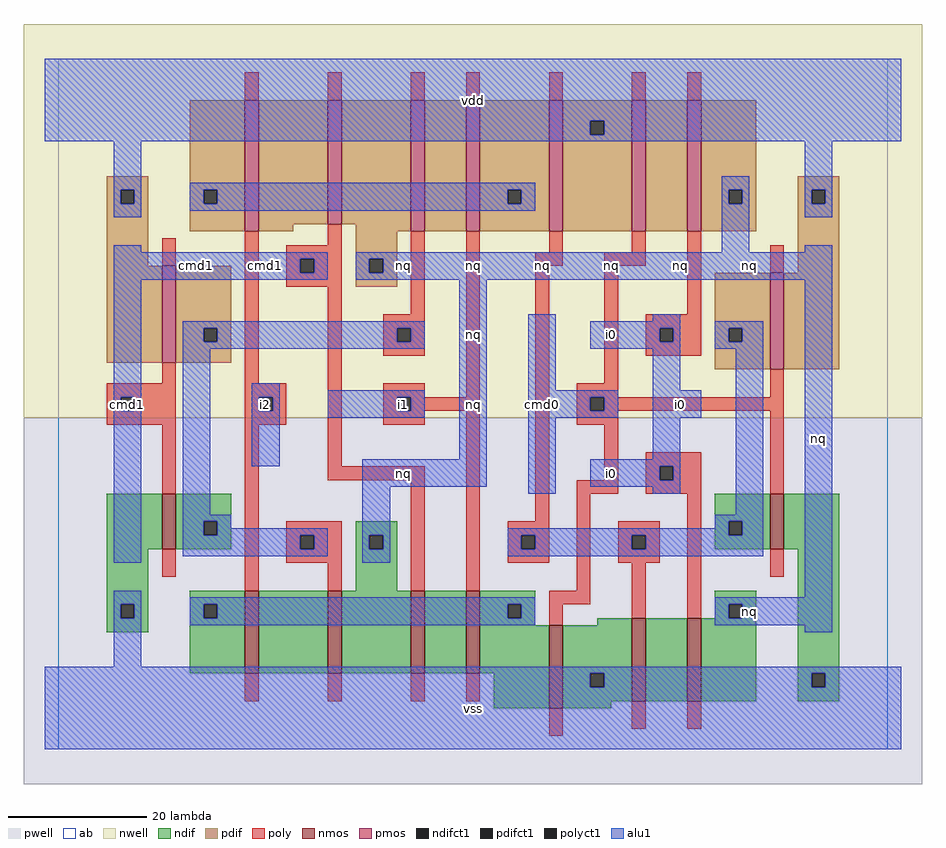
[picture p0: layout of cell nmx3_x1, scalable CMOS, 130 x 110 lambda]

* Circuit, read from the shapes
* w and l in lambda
.subckt nmx3_x1 cmd0 cmd1 i0 i1 i2 nq vdd vss
M1 n1 cmd1 vss VSUBS nfet w=8 l=2
M2 n2 i2 n3 VSUBS nfet w=12 l=2
M3 nq n1 n2 VSUBS nfet w=12 l=2
M4 n4 cmd1 nq VSUBS nfet w=12 l=2
M5 n3 i1 n4 VSUBS nfet w=12 l=2
M6 vss cmd0 n3 VSUBS nfet w=12 l=2
M7 n5 n6 vss VSUBS nfet w=12 l=2
M8 nq i0 n5 VSUBS nfet w=12 l=2
M9 vss cmd0 n6 VSUBS nfet w=8 l=2
M10 n1 cmd1 vdd n7 pfet w=14 l=2
M11 n8 i2 n9 n7 pfet w=19 l=2
M12 nq cmd1 n8 n7 pfet w=18 l=2
M13 n10 n1 nq n7 pfet w=19 l=2
M14 n9 i1 n10 n7 pfet w=19 l=2
M15 vdd n6 n9 n7 pfet w=19 l=2
M16 n11 cmd0 vdd n7 pfet w=19 l=2
M17 nq i0 n11 n7 pfet w=19 l=2
M18 vdd cmd0 n6 n7 pfet w=14 l=2
.ends

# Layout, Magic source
magic
tech scmos
<< ab >>
rect 0 0 120 100
<< nwell >>
rect -5 48 125 105
<< pwell >>
rect -5 -5 125 48
<< poly >>
rect 27 94 29 98
rect 39 94 41 98
rect 51 94 53 98
rect 59 94 61 98
rect 71 94 73 98
rect 83 94 85 98
rect 91 94 93 98
rect 15 70 17 74
rect 15 53 17 56
rect 7 51 17 53
rect 7 49 9 51
rect 11 49 17 51
rect 7 47 17 49
rect 15 37 17 47
rect 27 53 29 75
rect 39 73 41 76
rect 33 71 41 73
rect 33 69 35 71
rect 37 69 41 71
rect 33 67 41 69
rect 27 51 33 53
rect 27 49 29 51
rect 31 49 33 51
rect 27 47 33 49
rect 15 25 17 29
rect 27 23 29 47
rect 39 41 41 67
rect 51 63 53 75
rect 47 61 53 63
rect 47 59 49 61
rect 51 59 53 61
rect 47 57 53 59
rect 47 51 53 53
rect 59 51 61 75
rect 71 72 73 75
rect 83 72 85 75
rect 47 49 49 51
rect 51 49 61 51
rect 47 47 53 49
rect 39 39 53 41
rect 33 31 41 33
rect 33 29 35 31
rect 37 29 41 31
rect 33 27 41 29
rect 39 23 41 27
rect 51 23 53 39
rect 59 23 61 49
rect 69 70 73 72
rect 79 70 85 72
rect 69 33 71 70
rect 79 53 81 70
rect 91 63 93 75
rect 103 69 105 73
rect 85 61 93 63
rect 85 59 87 61
rect 89 59 93 61
rect 85 57 93 59
rect 75 51 81 53
rect 103 51 105 55
rect 75 49 77 51
rect 79 49 105 51
rect 75 47 81 49
rect 79 39 81 47
rect 65 31 71 33
rect 65 29 67 31
rect 69 29 71 31
rect 65 27 71 29
rect 75 37 81 39
rect 85 41 93 43
rect 85 39 87 41
rect 89 39 93 41
rect 85 37 93 39
rect 103 37 105 49
rect 75 23 77 37
rect 81 31 87 33
rect 81 29 83 31
rect 85 29 87 31
rect 81 27 87 29
rect 71 21 77 23
rect 71 18 73 21
rect 83 19 85 27
rect 91 19 93 37
rect 103 25 105 29
rect 27 7 29 11
rect 39 7 41 11
rect 51 7 53 11
rect 59 7 61 11
rect 71 2 73 6
rect 83 3 85 7
rect 91 3 93 7
<< ndif >>
rect 7 29 15 37
rect 17 33 25 37
rect 17 31 21 33
rect 23 31 25 33
rect 17 29 25 31
rect 7 21 13 29
rect 43 31 49 33
rect 43 29 45 31
rect 47 29 49 31
rect 43 23 49 29
rect 7 19 9 21
rect 11 19 13 21
rect 7 17 13 19
rect 19 21 27 23
rect 19 19 21 21
rect 23 19 27 21
rect 19 11 27 19
rect 29 11 39 23
rect 41 11 51 23
rect 53 11 59 23
rect 61 21 69 23
rect 61 19 65 21
rect 67 19 69 21
rect 61 18 69 19
rect 95 33 103 37
rect 95 31 97 33
rect 99 31 103 33
rect 95 29 103 31
rect 105 29 113 37
rect 95 21 101 23
rect 95 19 97 21
rect 99 19 101 21
rect 78 18 83 19
rect 61 11 71 18
rect 63 6 71 11
rect 73 11 83 18
rect 73 9 77 11
rect 79 9 83 11
rect 73 7 83 9
rect 85 7 91 19
rect 93 7 101 19
rect 107 11 113 29
rect 107 9 109 11
rect 111 9 113 11
rect 107 7 113 9
rect 73 6 80 7
<< pdif >>
rect 7 81 13 83
rect 7 79 9 81
rect 11 79 13 81
rect 7 70 13 79
rect 19 81 27 94
rect 19 79 21 81
rect 23 79 27 81
rect 19 75 27 79
rect 29 76 39 94
rect 41 76 51 94
rect 29 75 34 76
rect 7 56 15 70
rect 17 61 25 70
rect 17 59 21 61
rect 23 59 25 61
rect 17 56 25 59
rect 43 75 51 76
rect 53 75 59 94
rect 61 81 71 94
rect 61 79 65 81
rect 67 79 71 81
rect 61 75 71 79
rect 73 91 83 94
rect 73 89 77 91
rect 79 89 83 91
rect 73 75 83 89
rect 85 75 91 94
rect 93 81 101 94
rect 93 79 97 81
rect 99 79 101 81
rect 93 75 101 79
rect 107 81 113 83
rect 107 79 109 81
rect 111 79 113 81
rect 43 71 49 75
rect 43 69 45 71
rect 47 69 49 71
rect 43 67 49 69
rect 107 69 113 79
rect 95 61 103 69
rect 95 59 97 61
rect 99 59 103 61
rect 95 55 103 59
rect 105 55 113 69
<< alu1 >>
rect -2 91 122 100
rect -2 89 77 91
rect 79 89 122 91
rect -2 88 122 89
rect 8 81 12 88
rect 8 79 9 81
rect 11 79 12 81
rect 8 77 12 79
rect 19 81 69 82
rect 19 79 21 81
rect 23 79 65 81
rect 67 79 69 81
rect 19 78 69 79
rect 96 81 100 83
rect 96 79 97 81
rect 99 79 100 81
rect 8 72 12 73
rect 96 72 100 79
rect 108 81 112 88
rect 108 79 109 81
rect 111 79 112 81
rect 108 77 112 79
rect 108 72 112 73
rect 8 71 39 72
rect 8 69 35 71
rect 37 69 39 71
rect 8 68 39 69
rect 43 71 112 72
rect 43 69 45 71
rect 47 69 112 71
rect 43 68 112 69
rect 8 51 12 68
rect 8 49 9 51
rect 11 49 12 51
rect 8 27 12 49
rect 18 61 53 62
rect 18 59 21 61
rect 23 59 49 61
rect 51 59 53 61
rect 18 58 53 59
rect 18 34 22 58
rect 28 51 32 53
rect 28 49 29 51
rect 31 49 32 51
rect 28 41 32 49
rect 39 51 53 52
rect 39 49 49 51
rect 51 49 53 51
rect 39 48 53 49
rect 58 42 62 68
rect 44 38 62 42
rect 68 52 72 63
rect 86 62 90 63
rect 77 61 90 62
rect 77 59 87 61
rect 89 59 90 61
rect 77 58 90 59
rect 95 61 102 62
rect 95 59 97 61
rect 99 59 102 61
rect 95 58 102 59
rect 86 52 90 58
rect 68 51 81 52
rect 68 49 77 51
rect 79 49 81 51
rect 68 48 81 49
rect 86 48 93 52
rect 18 33 25 34
rect 18 31 21 33
rect 23 32 25 33
rect 23 31 39 32
rect 18 29 35 31
rect 37 29 39 31
rect 18 28 39 29
rect 44 31 48 38
rect 68 37 72 48
rect 86 42 90 48
rect 77 41 90 42
rect 77 39 87 41
rect 89 39 90 41
rect 77 38 90 39
rect 86 37 90 38
rect 98 34 102 58
rect 95 33 102 34
rect 95 32 97 33
rect 44 29 45 31
rect 47 29 48 31
rect 44 27 48 29
rect 65 31 97 32
rect 99 31 102 33
rect 65 29 67 31
rect 69 29 83 31
rect 85 29 102 31
rect 65 28 102 29
rect 8 21 12 23
rect 108 22 112 68
rect 8 19 9 21
rect 11 19 12 21
rect 8 12 12 19
rect 19 21 69 22
rect 19 19 21 21
rect 23 19 65 21
rect 67 19 69 21
rect 19 18 69 19
rect 95 21 112 22
rect 95 19 97 21
rect 99 19 112 21
rect 95 18 112 19
rect 108 17 112 18
rect -2 11 122 12
rect -2 9 77 11
rect 79 9 109 11
rect 111 9 122 11
rect -2 0 122 9
<< nmos >>
rect 15 29 17 37
rect 27 11 29 23
rect 39 11 41 23
rect 51 11 53 23
rect 59 11 61 23
rect 103 29 105 37
rect 71 6 73 18
rect 83 7 85 19
rect 91 7 93 19
<< pmos >>
rect 27 75 29 94
rect 39 76 41 94
rect 15 56 17 70
rect 51 75 53 94
rect 59 75 61 94
rect 71 75 73 94
rect 83 75 85 94
rect 91 75 93 94
rect 103 55 105 69
<< polyct1 >>
rect 9 49 11 51
rect 35 69 37 71
rect 29 49 31 51
rect 49 59 51 61
rect 49 49 51 51
rect 35 29 37 31
rect 87 59 89 61
rect 77 49 79 51
rect 67 29 69 31
rect 87 39 89 41
rect 83 29 85 31
<< ndifct1 >>
rect 21 31 23 33
rect 45 29 47 31
rect 9 19 11 21
rect 21 19 23 21
rect 65 19 67 21
rect 97 31 99 33
rect 97 19 99 21
rect 77 9 79 11
rect 109 9 111 11
<< pdifct1 >>
rect 9 79 11 81
rect 21 79 23 81
rect 21 59 23 61
rect 65 79 67 81
rect 77 89 79 91
rect 97 79 99 81
rect 109 79 111 81
rect 45 69 47 71
rect 97 59 99 61
<< labels >>
rlabel polyct1 10 50 10 50 6 cmd1
rlabel polyct1 30 50 30 50 6 i2
rlabel alu1 20 70 20 70 6 cmd1
rlabel alu1 30 70 30 70 6 cmd1
rlabel alu1 60 6 60 6 6 vss
rlabel alu1 50 40 50 40 6 nq
rlabel polyct1 50 50 50 50 6 i1
rlabel alu1 60 50 60 50 6 nq
rlabel alu1 60 60 60 60 6 nq
rlabel alu1 50 70 50 70 6 nq
rlabel alu1 60 70 60 70 6 nq
rlabel alu1 60 94 60 94 6 vdd
rlabel alu1 80 40 80 40 6 i0
rlabel alu1 70 50 70 50 6 cmd0
rlabel alu1 90 50 90 50 6 i0
rlabel alu1 80 60 80 60 6 i0
rlabel alu1 70 70 70 70 6 nq
rlabel alu1 80 70 80 70 6 nq
rlabel alu1 90 70 90 70 6 nq
rlabel alu1 100 20 100 20 6 nq
rlabel alu1 110 45 110 45 6 nq
rlabel alu1 100 70 100 70 6 nq
<< end >>
